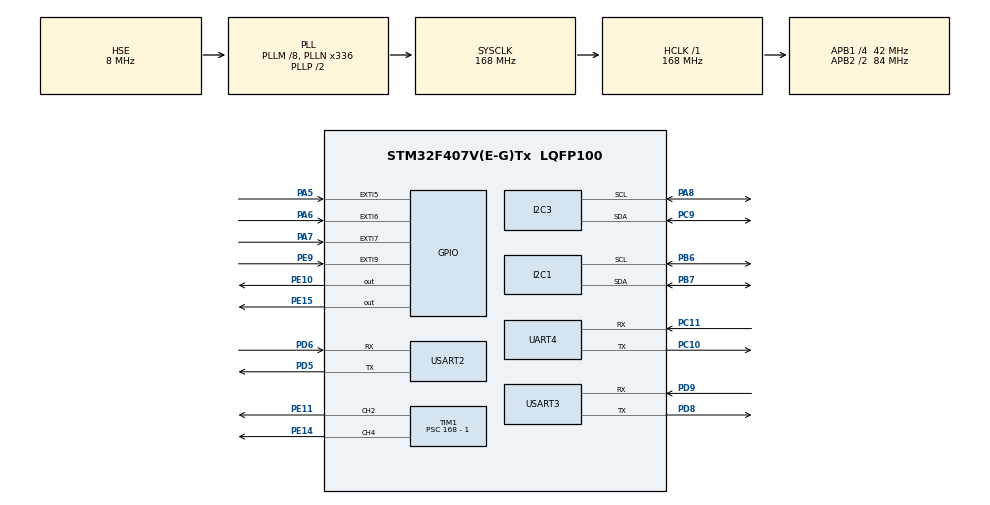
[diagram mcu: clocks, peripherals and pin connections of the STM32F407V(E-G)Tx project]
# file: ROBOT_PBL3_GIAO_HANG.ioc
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Dma.Request0=USART3_RX
Dma.Request1=USART2_RX
Dma.USART2_RX.1.Direction=DMA_PERIPH_TO_MEMORY
Dma.USART2_RX.1.FIFOMode=DMA_FIFOMODE_DISABLE
Dma.USART2_RX.1.Instance=DMA1_Stream5
Dma.USART2_RX.1.MemDataAlignment=DMA_MDATAALIGN_BYTE
Dma.USART2_RX.1.MemInc=DMA_MINC_ENABLE
Dma.USART2_RX.1.Mode=DMA_NORMAL
Dma.USART2_RX.1.PeriphDataAlignment=DMA_PDATAALIGN_BYTE
Dma.USART2_RX.1.PeriphInc=DMA_PINC_DISABLE
Dma.USART2_RX.1.Priority=DMA_PRIORITY_LOW
Dma.USART3_RX.0.Direction=DMA_PERIPH_TO_MEMORY
Dma.USART3_RX.0.FIFOMode=DMA_FIFOMODE_DISABLE
Dma.USART3_RX.0.Instance=DMA1_Stream1
Dma.USART3_RX.0.MemDataAlignment=DMA_MDATAALIGN_BYTE
Dma.USART3_RX.0.MemInc=DMA_MINC_ENABLE
Dma.USART3_RX.0.Mode=DMA_CIRCULAR
Dma.USART3_RX.0.PeriphDataAlignment=DMA_PDATAALIGN_BYTE
Dma.USART3_RX.0.PeriphInc=DMA_PINC_DISABLE
Dma.USART3_RX.0.Priority=DMA_PRIORITY_HIGH
FREERTOS.Tasks01=Task_Motion,1,256,StartTask_Motion,Default,NULL,Dynamic,NULL,NULL;Task_Telemetry,0,512,StartTask_Telemetry,Default,NULL,Dynamic,NULL,NULL
FREERTOS.configTOTAL_HEAP_SIZE=16384
Mcu.Family=STM32F4
Mcu.Name=STM32F407V(E-G)Tx
Mcu.Package=LQFP100
NVIC.DMA1_Stream1_IRQn=true\:5\:0\:false\:false\:true\:true\:false\:true\:true
NVIC.DMA1_Stream5_IRQn=true\:5\:0\:false\:false\:true\:true\:false\:true\:true
NVIC.EXTI9_5_IRQn=true\:5\:0\:false\:false\:true\:true\:true\:true\:true
NVIC.PriorityGroup=NVIC_PRIORITYGROUP_4
NVIC.TIM2_IRQn=true\:5\:0\:false\:false\:true\:true\:true\:true\:true
NVIC.TIM6_DAC_IRQn=true\:15\:0\:false\:false\:true\:false\:false\:true\:true
NVIC.TimeBase=TIM6_DAC_IRQn
NVIC.TimeBaseIP=TIM6
NVIC.USART2_IRQn=true\:5\:0\:false\:false\:true\:true\:true\:true\:true
NVIC.USART3_IRQn=true\:5\:0\:false\:false\:true\:true\:true\:true\:true
PA13.Mode=Serial_Wire
PA13.Signal=SYS_JTMS-SWDIO
PA14.Mode=Serial_Wire
PA14.Signal=SYS_JTCK-SWCLK
PA5.GPIO_ModeDefaultEXTI=GPIO_MODE_IT_RISING_FALLING
PA5.GPIO_PuPd=GPIO_PULLDOWN
PA5.Signal=GPXTI5
PA6.GPIO_ModeDefaultEXTI=GPIO_MODE_IT_RISING_FALLING
PA6.GPIO_PuPd=GPIO_PULLDOWN
PA6.Signal=GPXTI6
PA7.GPIO_ModeDefaultEXTI=GPIO_MODE_IT_RISING_FALLING
PA7.GPIO_PuPd=GPIO_PULLDOWN
PA7.Signal=GPXTI7
PA8.Mode=I2C
PA8.Signal=I2C3_SCL
PB6.Mode=I2C
PB6.Signal=I2C1_SCL
PB7.Mode=I2C
PB7.Signal=I2C1_SDA
PC10.Mode=Asynchronous
PC10.Signal=UART4_TX
PC11.Mode=Asynchronous
PC11.Signal=UART4_RX
PC9.Mode=I2C
PC9.Signal=I2C3_SDA
PD5.Mode=Asynchronous
PD5.Signal=USART2_TX
PD6.Mode=Asynchronous
PD6.Signal=USART2_RX
PD8.Mode=Asynchronous
PD8.Signal=USART3_TX
PD9.Mode=Asynchronous
PD9.Signal=USART3_RX
PE10.Signal=GPIO_Output
PE11.Signal=S_TIM1_CH2
PE14.Signal=S_TIM1_CH4
PE15.Signal=GPIO_Output
PE9.GPIO_ModeDefaultEXTI=GPIO_MODE_IT_RISING_FALLING
PE9.GPIO_PuPd=GPIO_PULLDOWN
PE9.Signal=GPXTI9
PH0-OSC_IN.Mode=HSE-External-Oscillator
PH0-OSC_IN.Signal=RCC_OSC_IN
PH1-OSC_OUT.Mode=HSE-External-Oscillator
PH1-OSC_OUT.Signal=RCC_OSC_OUT
ProjectManager.HeapSize=0x200
ProjectManager.StackSize=0x400
ProjectManager.TargetToolchain=STM32CubeIDE
RCC.48MHZClocksFreq_Value=84000000
RCC.AHBFreq_Value=168000000
RCC.APB1CLKDivider=RCC_HCLK_DIV4
RCC.APB1Freq_Value=42000000
RCC.APB1TimFreq_Value=84000000
RCC.APB2CLKDivider=RCC_HCLK_DIV2
RCC.APB2Freq_Value=84000000
RCC.APB2TimFreq_Value=168000000
RCC.CortexFreq_Value=168000000
RCC.HCLKFreq_Value=168000000
RCC.HSE_VALUE=8000000
RCC.HSI_VALUE=16000000
RCC.LSE_VALUE=32768
RCC.PLLM=8
RCC.PLLN=336
RCC.PLLSourceVirtual=RCC_PLLSOURCE_HSE
RCC.SYSCLKFreq_VALUE=168000000
RCC.SYSCLKSource=RCC_SYSCLKSOURCE_PLLCLK
RCC.VCOOutputFreq_Value=336000000
SH.S_TIM1_CH2.0=TIM1_CH2,PWM Generation2 CH2
SH.S_TIM1_CH4.0=TIM1_CH4,PWM Generation4 CH4
TIM1.Channel-PWM\ Generation2\ CH2=TIM_CHANNEL_2
TIM1.Channel-PWM\ Generation4\ CH4=TIM_CHANNEL_4
TIM1.OCPolarity_2=TIM_OCPOLARITY_LOW
TIM1.OCPolarity_4=TIM_OCPOLARITY_LOW
TIM1.Period=1000 - 1
TIM1.Prescaler=168 - 1
TIM2.Prescaler=84-1
UART4.VirtualMode=Asynchronous
USART2.VirtualMode=VM_ASYNC
USART3.VirtualMode=VM_ASYNC
VP_FREERTOS_VS_CMSIS_V1.Mode=CMSIS_V1
VP_SYS_VS_tim6.Mode=TIM6
VP_TIM1_VS_ClockSourceINT.Mode=Internal
VP_TIM2_VS_ClockSourceINT.Mode=Internal
board=custom

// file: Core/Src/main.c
/* USER CODE BEGIN Header */
/**
  ******************************************************************************
  * @file           : main.c
  * @brief          : Main program body
  ******************************************************************************
  * @attention
  *
  * Copyright (c) 2026 STMicroelectronics.
  * All rights reserved.
  *
  * This software is licensed under terms that can be found in the LICENSE file
  * in the root directory of this software component.
  * If no LICENSE file comes with this software, it is provided AS-IS.
  *
  ******************************************************************************
  */
/* USER CODE END Header */
#include "main.h"
#include "cmsis_os.h"
#include "dma.h"
#include "i2c.h"
#include "tim.h"
#include "usart.h"
#include "gpio.h"

/* USER CODE BEGIN Includes */
#include "gps_ubx.h"
#include "BNO055.h"
#include "ugv_nav.h"
#include "INA219.h"
#include "motor.h"
#include "sim_mqtt.h"
#include <stdio.h>
#include <string.h>
#include <stdlib.h>
#include <stdbool.h>
#include <stdint.h>
/* USER CODE END Includes */

/* USER CODE BEGIN PD */
#define MAX_WAYPOINTS 20
/* USER CODE END PD */

/* USER CODE BEGIN PV */
extern DMA_HandleTypeDef hdma_usart2_rx;
extern I2C_HandleTypeDef hi2c3;

bool is_tcp_connected = false;

float yaw = 0.0f;

uint8_t rx_sim_buffer[256];
uint32_t last_telemetry_time = 0;
char rover_status[20] = "IDLE";
float target_speed = 0.0f;

uint8_t bat_level = 85;
float current_speed = 0.0f;

uint16_t counter = 0;

Waypoint_t rover_mission[MAX_WAYPOINTS];
uint8_t total_waypoints = 0;

double filtered_lat = 0.0;
double filtered_lng = 0.0;

uint32_t start_time[6];
uint16_t pwm_value[6];

uint8_t rx_gps_byte;

uint8_t calib_status = 0;
uint8_t calib_data[22] = {0};
uint8_t mag_status = 0;
uint8_t gyro_status = 0;

uint8_t bat_level;
/* USER CODE END PV */

void SystemClock_Config(void);
void MX_FREERTOS_Init(void);

int main(void)
{

  /* MCU Configuration--------------------------------------------------------*/

  /* Reset of all peripherals, Initializes the Flash interface and the Systick. */
  HAL_Init();

  /* Configure the system clock */
  SystemClock_Config();

  /* Initialize all configured peripherals */
  MX_GPIO_Init();
  MX_DMA_Init();
  MX_USART2_UART_Init();
  MX_USART3_UART_Init();
  MX_I2C1_Init();
  MX_UART4_Init();
  MX_TIM1_Init();
  MX_TIM2_Init();
  MX_I2C3_Init();
  /* USER CODE BEGIN 2 */
    UBX_Init();
    HAL_UART_Receive_IT(&huart3, &rx_gps_byte, 1);
    BNO055_Init();
    INA219_Init(&hi2c3);

    HAL_UARTEx_ReceiveToIdle_DMA(&huart2, rx_sim_buffer, sizeof(rx_sim_buffer));
    __HAL_DMA_DISABLE_IT(&hdma_usart2_rx, DMA_IT_HT);

    Sim_Init();

    HAL_TIM_Base_Start(&htim2);
    HAL_TIM_PWM_Start(&htim1, TIM_CHANNEL_2);
    HAL_TIM_PWM_Start(&htim1, TIM_CHANNEL_4);
  /* USER CODE END 2 */

  /* Call init function for freertos objects (in cmsis_os2.c) */
  MX_FREERTOS_Init();

  /* Start scheduler */
  osKernelStart();

  /* We should never get here as control is now taken by the scheduler */

  /* Infinite loop */
  while (1)
  {

  }
}

void SystemClock_Config(void)
{
  RCC_OscInitTypeDef RCC_OscInitStruct = {0};
  RCC_ClkInitTypeDef RCC_ClkInitStruct = {0};

  /** Configure the main internal regulator output voltage
  */
  __HAL_RCC_PWR_CLK_ENABLE();
  __HAL_PWR_VOLTAGESCALING_CONFIG(PWR_REGULATOR_VOLTAGE_SCALE1);

  /** Initializes the RCC Oscillators according to the specified parameters
  * in the RCC_OscInitTypeDef structure.
  */
  RCC_OscInitStruct.OscillatorType = RCC_OSCILLATORTYPE_HSE;
  RCC_OscInitStruct.HSEState = RCC_HSE_ON;
  RCC_OscInitStruct.PLL.PLLState = RCC_PLL_ON;
  RCC_OscInitStruct.PLL.PLLSource = RCC_PLLSOURCE_HSE;
  RCC_OscInitStruct.PLL.PLLM = 8;
  RCC_OscInitStruct.PLL.PLLN = 336;
  RCC_OscInitStruct.PLL.PLLP = RCC_PLLP_DIV2;
  RCC_OscInitStruct.PLL.PLLQ = 4;
  if (HAL_RCC_OscConfig(&RCC_OscInitStruct) != HAL_OK)
  {
    Error_Handler();
  }

  /** Initializes the CPU, AHB and APB buses clocks
  */
  RCC_ClkInitStruct.ClockType = RCC_CLOCKTYPE_HCLK|RCC_CLOCKTYPE_SYSCLK
                              |RCC_CLOCKTYPE_PCLK1|RCC_CLOCKTYPE_PCLK2;
  RCC_ClkInitStruct.SYSCLKSource = RCC_SYSCLKSOURCE_PLLCLK;
  RCC_ClkInitStruct.AHBCLKDivider = RCC_SYSCLK_DIV1;
  RCC_ClkInitStruct.APB1CLKDivider = RCC_HCLK_DIV4;
  RCC_ClkInitStruct.APB2CLKDivider = RCC_HCLK_DIV2;

  if (HAL_RCC_ClockConfig(&RCC_ClkInitStruct, FLASH_LATENCY_5) != HAL_OK)
  {
    Error_Handler();
  }
}

/* USER CODE BEGIN 4 */
void HAL_GPIO_EXTI_Callback(uint16_t GPIO_Pin)
{

    if(GPIO_Pin == GPIO_PIN_6)
    {
        if(HAL_GPIO_ReadPin(GPIOA, GPIO_PIN_6) == GPIO_PIN_SET)
        {
            start_time[0] = __HAL_TIM_GET_COUNTER(&htim2);
        }
        else
        {
            pwm_value[0] = __HAL_TIM_GET_COUNTER(&htim2) - start_time[0];
        }
    }

    else if(GPIO_Pin == GPIO_PIN_7)
    {
        if(HAL_GPIO_ReadPin(GPIOA, GPIO_PIN_7) == GPIO_PIN_SET)
        {
            start_time[1] = __HAL_TIM_GET_COUNTER(&htim2);
        }
        else
        {
            pwm_value[1] = __HAL_TIM_GET_COUNTER(&htim2) - start_time[1];
        }
    }
    else if(GPIO_Pin == GPIO_PIN_5)
        {
            if(HAL_GPIO_ReadPin(GPIOA, GPIO_PIN_5) == GPIO_PIN_SET)
            {
                start_time[2] = __HAL_TIM_GET_COUNTER(&htim2);
            }
            else
            {
                pwm_value[2] = __HAL_TIM_GET_COUNTER(&htim2) - start_time[2];
            }
        }

}
void HAL_UART_RxCpltCallback(UART_HandleTypeDef *huart) {
	if (huart->Instance == USART3) {
		        if (UBX_ProcessByte(rx_gps_byte)) {

		        }
		        HAL_UART_Receive_IT(&huart3, &rx_gps_byte, 1);
		    }
}
void HAL_UARTEx_RxEventCallback(UART_HandleTypeDef *huart, uint16_t Size)
{
//    GPS_UART_RxEventCallback(huart, Size);
        if (huart->Instance == USART2) {
            for(uint16_t i = 0; i < Size; i++) {
                if(rx_sim_buffer[i] == 0x00) {
                    rx_sim_buffer[i] = ' ';
                }
            }
            rx_sim_buffer[Size < sizeof(rx_sim_buffer) ? Size : (sizeof(rx_sim_buffer) - 1)] = '\0';

            if (strstr((char*)rx_sim_buffer, "\"cmd\":\"CLEAR_MISSION\"") != NULL) {
                total_waypoints = 0;
                current_wp_index = 0;
                HAL_UART_Transmit(&huart4, (uint8_t*)"\r\n>> DA XOA LO TRINH CU\r\n", 25, 100);
            }
            else if (strstr((char*)rx_sim_buffer, "\"cmd\":\"ADD_WP\"") != NULL) {

                        if (total_waypoints < MAX_WAYPOINTS) {

                            char *lat_p = strstr((char*)rx_sim_buffer, "\"lat\":");
                            char *lng_p = strstr((char*)rx_sim_buffer, "\"lng\":");
                            char *stop_p = strstr((char*)rx_sim_buffer, "\"stop\":");

                            if (lat_p != NULL && lng_p != NULL && stop_p != NULL) {
                                double p_lat = atof(lat_p + 6);

                                double p_lng = atof(lng_p + 6);

                                int p_stop = atoi(stop_p + 7);

                                rover_mission[total_waypoints].lat = p_lat;
                                rover_mission[total_waypoints].lng = p_lng;
                                rover_mission[total_waypoints].stop_time = p_stop;

                                total_waypoints++;

                                char dbg[100];
                                sprintf(dbg, "\r\n>> DA NHAN WP %d: Lat=%.8f, Lng=%.8f, Stop=%d(s)\r\n",
                                        total_waypoints, p_lat, p_lng, p_stop);
                                HAL_UART_Transmit(&huart4, (uint8_t*)dbg, strlen(dbg), 100);
                            }
                        } else {
                            HAL_UART_Transmit(&huart4, (uint8_t*)"\r\n>> LOI: BO NHO WAYPOINT DA DAY!\r\n", 35, 100);
                        }
                    }
            else if (strstr((char*)rx_sim_buffer, "\"cmd\":\"START\"") != NULL) {
                strcpy(rover_status, "MOVING");
                HAL_UART_Transmit(&huart4, (uint8_t*)"\r\n>> LENH: START\r\n", 18, 100);
            }
            else if (strstr((char*)rx_sim_buffer, "\"cmd\":\"STOP\"") != NULL) {
                strcpy(rover_status, "STOP");
                HAL_UART_Transmit(&huart4, (uint8_t*)"\r\n>> LENH: STOP\r\n", 17, 100);
            }
            HAL_UARTEx_ReceiveToIdle_DMA(&huart2, rx_sim_buffer, sizeof(rx_sim_buffer));
            __HAL_DMA_DISABLE_IT(&hdma_usart2_rx, DMA_IT_HT);
    }
}
/* USER CODE END 4 */

void HAL_TIM_PeriodElapsedCallback(TIM_HandleTypeDef *htim)
{
  if (htim->Instance == TIM6)
  {
    HAL_IncTick();
  }
}

void Error_Handler(void)
{
  __disable_irq();
  while (1)
  {
  }
}

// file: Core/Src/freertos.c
/* USER CODE BEGIN Header */
/**
  ******************************************************************************
  * File Name          : freertos.c
  * Description        : Code for freertos applications
  ******************************************************************************
  * @attention
  *
  * Copyright (c) 2026 STMicroelectronics.
  * All rights reserved.
  *
  * This software is licensed under terms that can be found in the LICENSE file
  * in the root directory of this software component.
  * If no LICENSE file comes with this software, it is provided AS-IS.
  *
  ******************************************************************************
  */
/* USER CODE END Header */

#include "FreeRTOS.h"
#include "task.h"
#include "main.h"
#include "cmsis_os.h"

/* USER CODE BEGIN Includes */
#include "gps_ubx.h"
#include "BNO055.h"
#include "ugv_nav.h"
#include "ina219.h"
#include "motor.h"
#include "sim_mqtt.h"
#include <string.h>
#include <stdbool.h>
/* USER CODE END Includes */

/* USER CODE BEGIN Variables */
extern float yaw;
extern char rover_status[20];
extern uint8_t ugv_fix;
extern double ugv_lat;
extern double ugv_lon;
extern float ugv_speed;
extern bool is_tcp_connected;
extern uint8_t bat_level;
/* USER CODE END Variables */
osThreadId Task_MotionHandle;
osThreadId Task_TelemetryHandle;

void StartTask_Motion(void const * argument);
void StartTask_Telemetry(void const * argument);

void MX_FREERTOS_Init(void); /* (MISRA C 2004 rule 8.1) */

/* GetIdleTaskMemory prototype (linked to static allocation support) */
void vApplicationGetIdleTaskMemory( StaticTask_t **ppxIdleTaskTCBBuffer, StackType_t **ppxIdleTaskStackBuffer, uint32_t *pulIdleTaskStackSize );

/* USER CODE BEGIN GET_IDLE_TASK_MEMORY */
static StaticTask_t xIdleTaskTCBBuffer;
static StackType_t xIdleStack[configMINIMAL_STACK_SIZE];

void vApplicationGetIdleTaskMemory( StaticTask_t **ppxIdleTaskTCBBuffer, StackType_t **ppxIdleTaskStackBuffer, uint32_t *pulIdleTaskStackSize )
{
  *ppxIdleTaskTCBBuffer = &xIdleTaskTCBBuffer;
  *ppxIdleTaskStackBuffer = &xIdleStack[0];
  *pulIdleTaskStackSize = configMINIMAL_STACK_SIZE;
  /* place for user code */
}
/* USER CODE END GET_IDLE_TASK_MEMORY */

void MX_FREERTOS_Init(void) {

  /* Create the thread(s) */
  /* definition and creation of Task_Motion */
  osThreadDef(Task_Motion, StartTask_Motion, osPriorityAboveNormal, 0, 256);
  Task_MotionHandle = osThreadCreate(osThread(Task_Motion), NULL);

  /* definition and creation of Task_Telemetry */
  osThreadDef(Task_Telemetry, StartTask_Telemetry, osPriorityNormal, 0, 512);
  Task_TelemetryHandle = osThreadCreate(osThread(Task_Telemetry), NULL);

}

void StartTask_Motion(void const * argument)
{
  /* USER CODE BEGIN StartTask_Motion */
  /* Infinite loop */
  for(;;)
  {
      BNO055_ReadEuler(&yaw);
      if (strcmp(rover_status, "MOVING") == 0) {
          if (ugv_fix == 3) {
              UGV_Auto_Drive();
          } else {
              Control_Motors(0, 0);
          }
      } else {
          Update_Robot_Motion();
      }
      osDelay(20);
  }
  /* USER CODE END StartTask_Motion */
}

void StartTask_Telemetry(void const * argument)
{
  /* USER CODE BEGIN StartTask_Telemetry */
  /* Infinite loop */
  for(;;)
  {
      if (is_tcp_connected) {
          float voltage = INA219_GetBusVoltage_V();

          float bat_percent = ((voltage - 11.1f) / (12.6f - 11.1f)) * 100.0f;
          if (bat_percent > 100.0f) bat_percent = 100.0f;
          if (bat_percent < 0.0f) bat_percent = 0.0f;
          bat_level = (uint8_t)bat_percent;

          TCP_Publish_Telemetry(
              (double)ugv_lat,
              (double)ugv_lon,
              bat_level,
              (float)ugv_speed,
              rover_status,
              (float)yaw
          );
      }
      osDelay(500);
  }
  /* USER CODE END StartTask_Telemetry */
}
